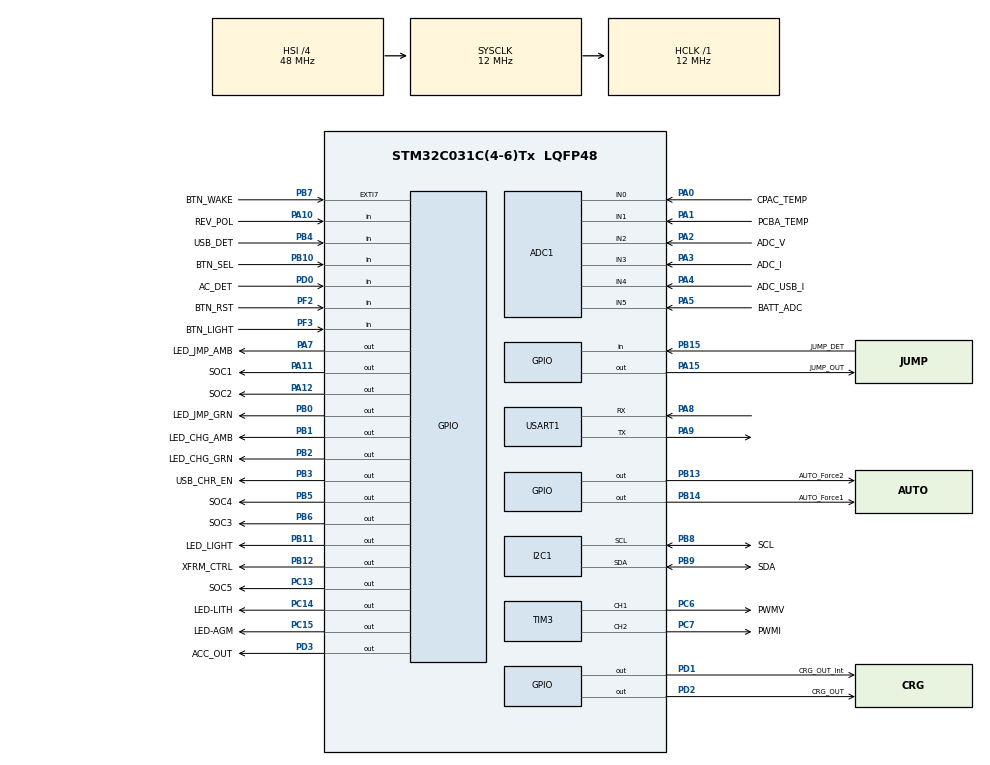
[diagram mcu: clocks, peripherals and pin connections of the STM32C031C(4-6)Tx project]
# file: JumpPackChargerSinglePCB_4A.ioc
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ADC1.Channel-1\#ChannelRegularConversion=ADC_CHANNEL_0
ADC1.NbrOfConversion=1
ADC1.NbrOfConversionFlag=1
ADC1.Rank-1\#ChannelRegularConversion=1
ADC1.SamplingTime-1\#ChannelRegularConversion=ADC_SAMPLINGTIME_COMMON_1
ADC1.SelectedChannel=ADC_CHANNEL_0|ADC_CHANNEL_1|ADC_CHANNEL_2|ADC_CHANNEL_3|ADC_CHANNEL_4|ADC_CHANNEL_5
ADC1.Sequencer=FULLY_CONFIGURABLE
ADC1.master=1
I2C1.Timing=0x40000A0B
Mcu.Family=STM32C0
Mcu.Name=STM32C031C(4-6)Tx
Mcu.Package=LQFP48
NVIC.EXTI4_15_IRQn=true\:0\:0\:false\:false\:true\:true\:true\:true
PA0.GPIO_Label=CPAC_TEMP
PA0.Mode=IN0
PA0.Signal=ADC1_IN0
PA1.GPIO_Label=PCBA_TEMP
PA1.Mode=IN1
PA1.Signal=ADC1_IN1
PA10.GPIO_Label=REV_POL
PA10.Signal=GPIO_Input
PA11\ [PA9].GPIO_Label=SOC1
PA11\ [PA9].Signal=GPIO_Output
PA12\ [PA10].GPIO_Label=SOC2
PA12\ [PA10].Signal=GPIO_Output
PA15.GPIO_Label=JUMP_OUT
PA15.Signal=GPIO_Output
PA2.GPIO_Label=ADC_V
PA2.Mode=IN2
PA2.Signal=ADC1_IN2
PA3.GPIO_Label=ADC_I
PA3.Mode=IN3
PA3.Signal=ADC1_IN3
PA4.GPIO_Label=ADC_USB_I
PA4.Mode=IN4
PA4.Signal=ADC1_IN4
PA5.GPIO_Label=BATT_ADC
PA5.Mode=IN5
PA5.Signal=ADC1_IN5
PA7.GPIO_Label=LED_JMP_AMB
PA7.Signal=GPIO_Output
PA8.Mode=Asynchronous
PA8.Signal=USART1_RX
PA9.Mode=Asynchronous
PA9.Signal=USART1_TX
PB0.GPIO_Label=LED_JMP_GRN
PB0.Signal=GPIO_Output
PB1.GPIO_Label=LED_CHG_AMB
PB1.Signal=GPIO_Output
PB10.GPIO_Label=BTN_SEL
PB10.Signal=GPIO_Input
PB11.GPIO_Label=LED_LIGHT
PB11.Signal=GPIO_Output
PB12.GPIO_Label=XFRM_CTRL
PB12.Signal=GPIO_Output
PB13.GPIO_Label=AUTO_Force2
PB13.Signal=GPIO_Output
PB14.GPIO_Label=AUTO_Force1
PB14.Signal=GPIO_Output
PB15.GPIO_Label=JUMP_DET
PB15.Signal=GPIO_Input
PB2.GPIO_Label=LED_CHG_GRN
PB2.Signal=GPIO_Output
PB3.GPIO_Label=USB_CHR_EN
PB3.Signal=GPIO_Output
PB4.GPIO_Label=USB_DET
PB4.Signal=GPIO_Input
PB5.GPIO_Label=SOC4
PB5.Signal=GPIO_Output
PB6.GPIO_Label=SOC3
PB6.Signal=GPIO_Output
PB7.GPIO_Label=BTN_WAKE
PB7.GPIO_ModeDefaultEXTI=GPIO_MODE_IT_FALLING
PB7.Signal=GPXTI7
PB8.GPIO_Label=SCL
PB8.Mode=I2C
PB8.Signal=I2C1_SCL
PB9.GPIO_Label=SDA
PB9.Mode=I2C
PB9.Signal=I2C1_SDA
PC13.GPIO_Label=SOC5
PC13.Signal=GPIO_Output
PC14-OSCX_IN\ (PC14).GPIO_Label=LED-LITH
PC14-OSCX_IN\ (PC14).Signal=GPIO_Output
PC15-OSCX_OUT\ (PC15).GPIO_Label=LED-AGM
PC15-OSCX_OUT\ (PC15).Signal=GPIO_Output
PC6.GPIO_Label=PWMV
PC6.Signal=S_TIM3_CH1
PC7.GPIO_Label=PWMI
PC7.Signal=S_TIM3_CH2
PD0.GPIO_Label=AC_DET
PD0.Signal=GPIO_Input
PD1.GPIO_Label=CRG_OUT_Int
PD1.Signal=GPIO_Output
PD2.GPIO_Label=CRG_OUT
PD2.Signal=GPIO_Output
PD3.GPIO_Label=ACC_OUT
PD3.Signal=GPIO_Output
PF2-NRST.GPIO_Label=BTN_RST
PF2-NRST.Signal=GPIO_Input
PF3.GPIO_Label=BTN_LIGHT
PF3.Signal=GPIO_Input
ProjectManager.HeapSize=0x200
ProjectManager.StackSize=0x400
ProjectManager.TargetToolchain=STM32CubeIDE
RCC.ADCFreq_Value=12000000
RCC.AHBFreq_Value=12000000
RCC.CortexFreq_Value=12000000
RCC.EXTERNAL_CLOCK_VALUE=12288000
RCC.HCLKFreq_Value=12000000
RCC.HSE_VALUE=8000000
RCC.HSI_VALUE=48000000
RCC.LSE_VALUE=32768
RCC.SYSCLKFreq_VALUE=12000000
SH.S_TIM3_CH1.0=TIM3_CH1,PWM Generation1 CH1
SH.S_TIM3_CH2.0=TIM3_CH2,PWM Generation2 CH2
TIM3.Channel-PWM\ Generation1\ CH1=TIM_CHANNEL_1
TIM3.Channel-PWM\ Generation2\ CH2=TIM_CHANNEL_2
USART1.VirtualMode-Asynchronous=VM_ASYNC
VP_RTC_VS_RTC_Activate.Mode=RTC_Enabled
VP_TIM3_VS_ClockSourceINT.Mode=Internal
board=custom

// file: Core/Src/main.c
/* USER CODE BEGIN Header */
/**
 ******************************************************************************
 * @file           : main.c
 * @brief          : Main program body
 ******************************************************************************
 * @attention
 *
 * <h2><center>&copy; Copyright (c) 2021 STMicroelectronics.
 * All rights reserved.</center></h2>
 *
 * This software component is licensed by ST under BSD 3-Clause license,
 * the "License"; You may not use this file except in compliance with the
 * License. You may obtain a copy of the License at:
 *                        opensource.org/licenses/BSD-3-Clause
 *
 ******************************************************************************
 */
/* USER CODE END Header */
#include <global_macros.h>
#include "main.h"

/* USER CODE BEGIN Includes */
#include <stdio.h>
#include "typedef.h"
#include "timer.h"
#include "states.h"

#include "../General/charge_parameters/chargeparams.h"
#include "../General/charging/batterycharging.h"
#include "../General/charging/calibration.h"
#include "../General/delay_lowpower/delay_lowpower.h"
#include "../General/hw_interfaces/chargerBoard.h"
#include "../General/hw_interfaces/extInterrupts.h"
#include "../General/jumping/batteryjumping.h"
#include "../General/led_indication/led_indication.h"
#include "../Platform_Specific/battMeasure.h"
#include "../Platform_Specific/chargePWM.h"
#include "../Platform_Specific/tempMeasure.h"

/* USER CODE END Includes */

ADC_HandleTypeDef hadc1;

I2C_HandleTypeDef hi2c1;

RTC_HandleTypeDef hrtc;

TIM_HandleTypeDef htim3;

UART_HandleTypeDef huart1;

void SystemClock_Config(void);
static void MX_GPIO_Init(void);
static void MX_ADC1_Init(void);
static void MX_I2C1_Init(void);
static void MX_TIM3_Init(void);
static void MX_USART1_UART_Init(void);
static void MX_RTC_Init(void);

/* USER CODE BEGIN 0 */
mainTaskState_t taskState = stIdle;

/* USER CODE END 0 */

int main(void)
{

  /* MCU Configuration--------------------------------------------------------*/

  /* Reset of all peripherals, Initializes the Flash interface and the Systick. */
  HAL_Init();

  /* Configure the system clock */
  SystemClock_Config();

  /* Initialize all configured peripherals */
  MX_GPIO_Init();
  MX_ADC1_Init();
  MX_I2C1_Init();
  MX_TIM3_Init();
  MX_USART1_UART_Init();
  MX_RTC_Init();
  /* USER CODE BEGIN 2 */

    //DEBUG_PRINT("Jump Pack Charger Combo - Hello World!\n");

    setLedsAllOn();
    HAL_Delay(2000);
    setLedsAllOff();

  /* USER CODE END 2 */

  /* Infinite loop */
  /* USER CODE BEGIN WHILE */
    while (1)
    {
        //extBatt_mV = (12000 * readExtBattVoltageDN()) / ADC_EXTBATT_12V_VALUE;   //Convert DN read on ADC to millivolts based on known 12V DN value
        //TODO: Use readExtBattmV() instead of dorky conversion
        extBatt_mV = readExtBattmV_NonChargerMode();
        intBatt_mV = (12000 * readIntBattVoltageDN()) / ADC_INTBATT_12V_VALUE;
        checkTemps();

        if(intBatt_mV < INTERNAL_BATT_LOW_LEVEL_MV)
        {
            TransitionState(stIdleLowBatt);
        }
        else if(chargerPortFunctions.IsReversePolarity())
        {
            if(!flags & FLAG_REVPOLARITY)
            {
                flags |= FLAG_REVPOLARITY;
            }
            if(taskState != stErrorState)
            {
                TransitionState(stErrorState);
            }
        }

        switch(taskState)
        {
        case stRelayTestState:
            break;

        case stErrorState:
        	ErrorStateFxn();
            break;

        case stIdle:
            IdleStateFxn();
            break;

        case stIdleLowBatt:   //Flashes first SOC LED to indicate low internal battery
            IdleLowBattStateFxn();
            break;

        case stIntBattCharging:
        	IntBattChargingStateFxn();
            break;

        case stAcChargerIdle:
        	acChargerIdleStateFxn();
            break;

        case stAcChargerCharging:
        	acChargerChargingStateFxn();
            break;

        case stJumpWaitForBatt:
            JumpWaitForBattStateFxn();
            break;

        case stJumpJumping:
         	JumpJumpingStateFxn();
            break;

        case stJumpSuccess:
          	JumpSuccessStateFxn();
            break;
        }

    }
    /* USER CODE END WHILE */

}

void SystemClock_Config(void)
{
  RCC_OscInitTypeDef RCC_OscInitStruct = {0};
  RCC_ClkInitTypeDef RCC_ClkInitStruct = {0};

  /** Initializes the RCC Oscillators according to the specified parameters
  * in the RCC_OscInitTypeDef structure.
  */
  RCC_OscInitStruct.OscillatorType = RCC_OSCILLATORTYPE_HSI|RCC_OSCILLATORTYPE_LSI;
  RCC_OscInitStruct.HSIState = RCC_HSI_ON;
  RCC_OscInitStruct.HSIDiv = RCC_HSI_DIV4;
  RCC_OscInitStruct.HSICalibrationValue = RCC_HSICALIBRATION_DEFAULT;
  RCC_OscInitStruct.LSIState = RCC_LSI_ON;

  if (HAL_RCC_OscConfig(&RCC_OscInitStruct) != HAL_OK)
  {
    Error_Handler();
  }

  /** Initializes the CPU, AHB and APB buses clocks
  */
  RCC_ClkInitStruct.ClockType = RCC_CLOCKTYPE_HCLK|RCC_CLOCKTYPE_SYSCLK
                              |RCC_CLOCKTYPE_PCLK1;
  RCC_ClkInitStruct.SYSCLKSource = RCC_SYSCLKSOURCE_HSI;
  RCC_ClkInitStruct.SYSCLKDivider = RCC_SYSCLK_DIV1;
  RCC_ClkInitStruct.AHBCLKDivider = RCC_HCLK_DIV1;
  RCC_ClkInitStruct.APB1CLKDivider = RCC_APB1_DIV1;

  if (HAL_RCC_ClockConfig(&RCC_ClkInitStruct, FLASH_LATENCY_0) != HAL_OK)
  {
    Error_Handler();
  }
}

static void MX_ADC1_Init(void)
{

  ADC_ChannelConfTypeDef sConfig = {0};

  /** Configure the global features of the ADC (Clock, Resolution, Data Alignment and number of conversion)
  */
  hadc1.Instance = ADC1;
  hadc1.Init.ClockPrescaler = ADC_CLOCK_SYNC_PCLK_DIV2;
  hadc1.Init.Resolution = ADC_RESOLUTION_12B;
  hadc1.Init.DataAlign = ADC_DATAALIGN_RIGHT;
  hadc1.Init.ScanConvMode = ADC_SCAN_DISABLE;
  hadc1.Init.EOCSelection = ADC_EOC_SINGLE_CONV;
  hadc1.Init.LowPowerAutoWait = DISABLE;
  hadc1.Init.LowPowerAutoPowerOff = DISABLE;
  hadc1.Init.ContinuousConvMode = DISABLE;
  hadc1.Init.NbrOfConversion = 1;
  hadc1.Init.DiscontinuousConvMode = DISABLE;
  hadc1.Init.ExternalTrigConv = ADC_SOFTWARE_START;
  hadc1.Init.ExternalTrigConvEdge = ADC_EXTERNALTRIGCONVEDGE_NONE;
  hadc1.Init.DMAContinuousRequests = DISABLE;
  hadc1.Init.Overrun = ADC_OVR_DATA_PRESERVED;
  hadc1.Init.SamplingTimeCommon1 = ADC_SAMPLETIME_1CYCLE_5;
  hadc1.Init.SamplingTimeCommon2 = ADC_SAMPLETIME_1CYCLE_5;
  hadc1.Init.OversamplingMode = DISABLE;
  hadc1.Init.TriggerFrequencyMode = ADC_TRIGGER_FREQ_HIGH;
  if (HAL_ADC_Init(&hadc1) != HAL_OK)
  {
    Error_Handler();
  }

  /** Configure Regular Channel
  */
  sConfig.Channel = ADC_CHANNEL_0;
  sConfig.Rank = ADC_REGULAR_RANK_1;
  sConfig.SamplingTime = ADC_SAMPLINGTIME_COMMON_1;
  if (HAL_ADC_ConfigChannel(&hadc1, &sConfig) != HAL_OK)
  {
    Error_Handler();
  }
  /* USER CODE BEGIN ADC1_Init 2 */
    HAL_ADCEx_Calibration_Start(&hadc1);
  /* USER CODE END ADC1_Init 2 */

}

static void MX_I2C1_Init(void)
{

  hi2c1.Instance = I2C1;
  hi2c1.Init.Timing = 0x40000A0B;
  hi2c1.Init.OwnAddress1 = 0;
  hi2c1.Init.AddressingMode = I2C_ADDRESSINGMODE_7BIT;
  hi2c1.Init.DualAddressMode = I2C_DUALADDRESS_DISABLE;
  hi2c1.Init.OwnAddress2 = 0;
  hi2c1.Init.OwnAddress2Masks = I2C_OA2_NOMASK;
  hi2c1.Init.GeneralCallMode = I2C_GENERALCALL_DISABLE;
  hi2c1.Init.NoStretchMode = I2C_NOSTRETCH_DISABLE;
  if (HAL_I2C_Init(&hi2c1) != HAL_OK)
  {
    Error_Handler();
  }

  /** Configure Analogue filter
  */
  if (HAL_I2CEx_ConfigAnalogFilter(&hi2c1, I2C_ANALOGFILTER_ENABLE) != HAL_OK)
  {
    Error_Handler();
  }

  /** Configure Digital filter
  */
  if (HAL_I2CEx_ConfigDigitalFilter(&hi2c1, 0) != HAL_OK)
  {
    Error_Handler();
  }

}

static void MX_RTC_Init(void)
{

  /** Initialize RTC Only
  */
  hrtc.Instance = RTC;
  hrtc.Init.HourFormat = RTC_HOURFORMAT_24;
  hrtc.Init.AsynchPrediv = 127;
  hrtc.Init.SynchPrediv = 255;
  hrtc.Init.OutPut = RTC_OUTPUT_DISABLE;
  hrtc.Init.OutPutRemap = RTC_OUTPUT_REMAP_NONE;
  hrtc.Init.OutPutPolarity = RTC_OUTPUT_POLARITY_HIGH;
  hrtc.Init.OutPutType = RTC_OUTPUT_TYPE_OPENDRAIN;
  hrtc.Init.OutPutPullUp = RTC_OUTPUT_PULLUP_NONE;
  if (HAL_RTC_Init(&hrtc) != HAL_OK)
  {
    Error_Handler();
  }

}

static void MX_TIM3_Init(void)
{

  TIM_ClockConfigTypeDef sClockSourceConfig = {0};
  TIM_MasterConfigTypeDef sMasterConfig = {0};
  TIM_OC_InitTypeDef sConfigOC = {0};

  htim3.Instance = TIM3;
  htim3.Init.Prescaler = 0;
  htim3.Init.CounterMode = TIM_COUNTERMODE_UP;
  htim3.Init.Period = 65535;
  htim3.Init.ClockDivision = TIM_CLOCKDIVISION_DIV1;
  htim3.Init.AutoReloadPreload = TIM_AUTORELOAD_PRELOAD_DISABLE;
  if (HAL_TIM_Base_Init(&htim3) != HAL_OK)
  {
    Error_Handler();
  }
  sClockSourceConfig.ClockSource = TIM_CLOCKSOURCE_INTERNAL;
  if (HAL_TIM_ConfigClockSource(&htim3, &sClockSourceConfig) != HAL_OK)
  {
    Error_Handler();
  }
  if (HAL_TIM_PWM_Init(&htim3) != HAL_OK)
  {
    Error_Handler();
  }
  sMasterConfig.MasterOutputTrigger = TIM_TRGO_RESET;
  sMasterConfig.MasterSlaveMode = TIM_MASTERSLAVEMODE_DISABLE;
  if (HAL_TIMEx_MasterConfigSynchronization(&htim3, &sMasterConfig) != HAL_OK)
  {
    Error_Handler();
  }
  sConfigOC.OCMode = TIM_OCMODE_PWM1;
  sConfigOC.Pulse = 0;
  sConfigOC.OCPolarity = TIM_OCPOLARITY_HIGH;
  sConfigOC.OCFastMode = TIM_OCFAST_DISABLE;
  if (HAL_TIM_PWM_ConfigChannel(&htim3, &sConfigOC, TIM_CHANNEL_1) != HAL_OK)
  {
    Error_Handler();
  }
  if (HAL_TIM_PWM_ConfigChannel(&htim3, &sConfigOC, TIM_CHANNEL_2) != HAL_OK)
  {
    Error_Handler();
  }
  HAL_TIM_MspPostInit(&htim3);

}

static void MX_USART1_UART_Init(void)
{

  huart1.Instance = USART1;
  huart1.Init.BaudRate = 115200;
  huart1.Init.WordLength = UART_WORDLENGTH_8B;
  huart1.Init.StopBits = UART_STOPBITS_1;
  huart1.Init.Parity = UART_PARITY_NONE;
  huart1.Init.Mode = UART_MODE_TX_RX;
  huart1.Init.HwFlowCtl = UART_HWCONTROL_NONE;
  huart1.Init.OverSampling = UART_OVERSAMPLING_16;
  huart1.Init.OneBitSampling = UART_ONE_BIT_SAMPLE_DISABLE;
  huart1.Init.ClockPrescaler = UART_PRESCALER_DIV1;
  huart1.AdvancedInit.AdvFeatureInit = UART_ADVFEATURE_NO_INIT;
  if (HAL_UART_Init(&huart1) != HAL_OK)
  {
    Error_Handler();
  }
  if (HAL_UARTEx_SetTxFifoThreshold(&huart1, UART_TXFIFO_THRESHOLD_1_8) != HAL_OK)
  {
    Error_Handler();
  }
  if (HAL_UARTEx_SetRxFifoThreshold(&huart1, UART_RXFIFO_THRESHOLD_1_8) != HAL_OK)
  {
    Error_Handler();
  }
  if (HAL_UARTEx_DisableFifoMode(&huart1) != HAL_OK)
  {
    Error_Handler();
  }

}

static void MX_GPIO_Init(void)
{
  GPIO_InitTypeDef GPIO_InitStruct = {0};

  /* GPIO Ports Clock Enable */
  __HAL_RCC_GPIOC_CLK_ENABLE();
  __HAL_RCC_GPIOF_CLK_ENABLE();
  __HAL_RCC_GPIOA_CLK_ENABLE();
  __HAL_RCC_GPIOB_CLK_ENABLE();
  __HAL_RCC_GPIOD_CLK_ENABLE();

  /*Configure GPIO pin Output Level */
  HAL_GPIO_WritePin(GPIOC, SOC5_Pin|LED_LITH_Pin|LED_AGM_Pin, GPIO_PIN_RESET);

  /*Configure GPIO pin Output Level */
  HAL_GPIO_WritePin(GPIOA, LED_JMP_AMB_Pin|SOC1_Pin|SOC2_Pin|JUMP_OUT_Pin, GPIO_PIN_RESET);

  /*Configure GPIO pin Output Level */
  HAL_GPIO_WritePin(GPIOB, LED_JMP_GRN_Pin|LED_CHG_AMB_Pin|LED_CHG_GRN_Pin|LED_LIGHT_Pin
                          |XFRM_CTRL_Pin|AUTO_Force2_Pin|AUTO_Force1_Pin|USB_CHR_EN_Pin
                          |SOC4_Pin|SOC3_Pin, GPIO_PIN_RESET);

  /*Configure GPIO pin Output Level */
  HAL_GPIO_WritePin(GPIOD, CRG_OUT_Int_Pin|CRG_OUT_Pin|ACC_OUT_Pin, GPIO_PIN_RESET);

  /*Configure GPIO pins : SOC5_Pin LED_LITH_Pin LED_AGM_Pin */
  GPIO_InitStruct.Pin = SOC5_Pin|LED_LITH_Pin|LED_AGM_Pin;
  GPIO_InitStruct.Mode = GPIO_MODE_OUTPUT_PP;
  GPIO_InitStruct.Pull = GPIO_NOPULL;
  GPIO_InitStruct.Speed = GPIO_SPEED_FREQ_LOW;
  HAL_GPIO_Init(GPIOC, &GPIO_InitStruct);

  /*Configure GPIO pins : BTN_LIGHT_Pin BTN_RST_Pin */
  GPIO_InitStruct.Pin = BTN_LIGHT_Pin|BTN_RST_Pin;
  GPIO_InitStruct.Mode = GPIO_MODE_INPUT;
  GPIO_InitStruct.Pull = GPIO_NOPULL;
  HAL_GPIO_Init(GPIOF, &GPIO_InitStruct);

  /*Configure GPIO pins : LED_JMP_AMB_Pin SOC1_Pin SOC2_Pin JUMP_OUT_Pin */
  GPIO_InitStruct.Pin = LED_JMP_AMB_Pin|SOC1_Pin|SOC2_Pin|JUMP_OUT_Pin;
  GPIO_InitStruct.Mode = GPIO_MODE_OUTPUT_PP;
  GPIO_InitStruct.Pull = GPIO_NOPULL;
  GPIO_InitStruct.Speed = GPIO_SPEED_FREQ_LOW;
  HAL_GPIO_Init(GPIOA, &GPIO_InitStruct);

  /*Configure GPIO pins : LED_JMP_GRN_Pin LED_CHG_AMB_Pin LED_CHG_GRN_Pin LED_LIGHT_Pin
                           XFRM_CTRL_Pin AUTO_Force2_Pin AUTO_Force1_Pin USB_CHR_EN_Pin
                           SOC4_Pin SOC3_Pin */
  GPIO_InitStruct.Pin = LED_JMP_GRN_Pin|LED_CHG_AMB_Pin|LED_CHG_GRN_Pin|LED_LIGHT_Pin
                          |XFRM_CTRL_Pin|AUTO_Force2_Pin|AUTO_Force1_Pin|USB_CHR_EN_Pin
                          |SOC4_Pin|SOC3_Pin;
  GPIO_InitStruct.Mode = GPIO_MODE_OUTPUT_PP;
  GPIO_InitStruct.Pull = GPIO_NOPULL;
  GPIO_InitStruct.Speed = GPIO_SPEED_FREQ_LOW;
  HAL_GPIO_Init(GPIOB, &GPIO_InitStruct);

  /*Configure GPIO pins : BTN_SEL_Pin JUMP_DET_Pin USB_DET_Pin */
  GPIO_InitStruct.Pin = BTN_SEL_Pin|JUMP_DET_Pin|USB_DET_Pin;
  GPIO_InitStruct.Mode = GPIO_MODE_INPUT;
  GPIO_InitStruct.Pull = GPIO_NOPULL;
  HAL_GPIO_Init(GPIOB, &GPIO_InitStruct);

  /*Configure GPIO pin : REV_POL_Pin */
  GPIO_InitStruct.Pin = REV_POL_Pin;
  GPIO_InitStruct.Mode = GPIO_MODE_INPUT;
  GPIO_InitStruct.Pull = GPIO_NOPULL;
  HAL_GPIO_Init(REV_POL_GPIO_Port, &GPIO_InitStruct);

  /*Configure GPIO pin : AC_DET_Pin */
  GPIO_InitStruct.Pin = AC_DET_Pin;
  GPIO_InitStruct.Mode = GPIO_MODE_INPUT;
  GPIO_InitStruct.Pull = GPIO_NOPULL;
  HAL_GPIO_Init(AC_DET_GPIO_Port, &GPIO_InitStruct);

  /*Configure GPIO pins : CRG_OUT_Int_Pin CRG_OUT_Pin ACC_OUT_Pin */
  GPIO_InitStruct.Pin = CRG_OUT_Int_Pin|CRG_OUT_Pin|ACC_OUT_Pin;
  GPIO_InitStruct.Mode = GPIO_MODE_OUTPUT_PP;
  GPIO_InitStruct.Pull = GPIO_NOPULL;
  GPIO_InitStruct.Speed = GPIO_SPEED_FREQ_LOW;
  HAL_GPIO_Init(GPIOD, &GPIO_InitStruct);

  /*Configure GPIO pin : BTN_WAKE_Pin */
  GPIO_InitStruct.Pin = BTN_WAKE_Pin;
  GPIO_InitStruct.Mode = GPIO_MODE_IT_FALLING;
  GPIO_InitStruct.Pull = GPIO_NOPULL;
  HAL_GPIO_Init(BTN_WAKE_GPIO_Port, &GPIO_InitStruct);

  /* EXTI interrupt init*/
  HAL_NVIC_SetPriority(EXTI4_15_IRQn, 0, 0);
  HAL_NVIC_EnableIRQ(EXTI4_15_IRQn);

}

void Error_Handler(void)
{
    __disable_irq();
    while (1)
    {
    }
}
